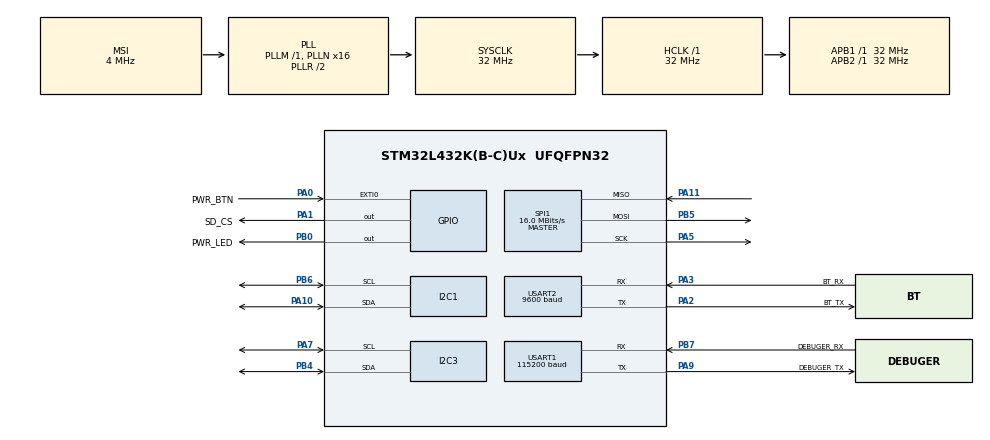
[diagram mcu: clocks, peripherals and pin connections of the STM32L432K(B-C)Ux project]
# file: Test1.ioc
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FATFS._MAX_SS=4096
FATFS._USE_LFN=1
I2C1.NoStretchMode=I2C_NOSTRETCH_DISABLE
I2C1.OwnAddress=0x0b
I2C1.Timing=0x00707CBB
I2C3.Timing=0x00707CBB
Mcu.Family=STM32L4
Mcu.Name=STM32L432K(B-C)Ux
Mcu.Package=UFQFPN32
NVIC.EXTI0_IRQn=true\:0\:0\:false\:false\:true\:true\:true\:true
NVIC.PriorityGroup=NVIC_PRIORITYGROUP_4
NVIC.USART2_IRQn=true\:0\:0\:false\:false\:true\:true\:true\:true
PA0.GPIO_Label=PWR_BTN
PA0.GPIO_ModeDefaultEXTI=GPIO_MODE_IT_RISING
PA0.GPIO_PuPd=GPIO_NOPULL
PA0.Signal=GPXTI0
PA1.GPIO_Label=SD_CS
PA1.PinState=GPIO_PIN_SET
PA1.Signal=GPIO_Output
PA10.GPIO_Pu=GPIO_NOPULL
PA10.Mode=I2C
PA10.Signal=I2C1_SDA
PA11.Mode=Full_Duplex_Master
PA11.Signal=SPI1_MISO
PA13\ (JTMS-SWDIO).GPIO_Label=SWDIO
PA13\ (JTMS-SWDIO).Mode=Serial_Wire
PA13\ (JTMS-SWDIO).Signal=SYS_JTMS-SWDIO
PA14\ (JTCK-SWCLK).GPIO_Label=SWCLK
PA14\ (JTCK-SWCLK).Mode=Serial_Wire
PA14\ (JTCK-SWCLK).Signal=SYS_JTCK-SWCLK
PA2.GPIO_Label=BT_TX
PA2.Mode=Asynchronous
PA2.Signal=USART2_TX
PA3.GPIO_Label=BT_RX
PA3.Mode=Asynchronous
PA3.Signal=USART2_RX
PA5.Mode=Full_Duplex_Master
PA5.Signal=SPI1_SCK
PA7.Mode=I2C
PA7.Signal=I2C3_SCL
PA9.GPIO_Label=DEBUGER_TX
PA9.Mode=Asynchronous
PA9.Signal=USART1_TX
PB0.GPIO_Label=PWR_LED
PB0.PinState=GPIO_PIN_SET
PB0.Signal=GPIO_Output
PB4\ (NJTRST).Mode=I2C
PB4\ (NJTRST).Signal=I2C3_SDA
PB5.Mode=Full_Duplex_Master
PB5.Signal=SPI1_MOSI
PB6.GPIO_Pu=GPIO_NOPULL
PB6.Mode=I2C
PB6.Signal=I2C1_SCL
PB7.GPIO_Label=DEBUGER_RX
PB7.Mode=Asynchronous
PB7.Signal=USART1_RX
PC14-OSC32_IN\ (PC14).Mode=LSE-External-Oscillator
PC14-OSC32_IN\ (PC14).Signal=RCC_OSC32_IN
PC15-OSC32_OUT\ (PC15).Mode=LSE-External-Oscillator
PC15-OSC32_OUT\ (PC15).Signal=RCC_OSC32_OUT
ProjectManager.HeapSize=0x200
ProjectManager.StackSize=0x400
ProjectManager.TargetToolchain=STM32CubeIDE
RCC.AHBFreq_Value=32000000
RCC.APB1Freq_Value=32000000
RCC.APB1TimFreq_Value=32000000
RCC.APB2Freq_Value=32000000
RCC.APB2TimFreq_Value=32000000
RCC.CortexFreq_Value=32000000
RCC.HCLKFreq_Value=32000000
RCC.HSE_VALUE=8000000
RCC.HSI16_VALUE=16000000
RCC.HSI48_VALUE=48000000
RCC.HSI_VALUE=16000000
RCC.MSI_VALUE=4000000
RCC.PLLMUL=RCC_PLLMUL_4
RCC.PLLN=16
RCC.SYSCLKFreq_VALUE=32000000
RCC.SYSCLKSource=RCC_SYSCLKSOURCE_PLLCLK
RCC.VCOOutputFreq_Value=64000000
SPI1.CalculateBaudRate=16.0 MBits/s
SPI1.DataSize=SPI_DATASIZE_8BIT
SPI1.Direction=SPI_DIRECTION_2LINES
SPI1.Mode=SPI_MODE_MASTER
SPI1.VirtualType=VM_MASTER
TIM1.Prescaler=32
TIM2.Prescaler=32
USART1.BaudRate=115200
USART1.VirtualMode-Asynchronous=VM_ASYNC
USART2.BaudRate=9600
USART2.VirtualMode-Asynchronous=VM_ASYNC
VP_FATFS_VS_Generic.Mode=User_defined
VP_TIM1_VS_ClockSourceINT.Mode=Internal
VP_TIM2_VS_ClockSourceINT.Mode=Internal
board=NUCLEO-L432KC

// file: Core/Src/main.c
/* USER CODE BEGIN Header */
/**
  ******************************************************************************
  * @file           : main.c
  * @brief          : Main program body
  ******************************************************************************
  * @attention
  *
  * Copyright (c) 2022 STMicroelectronics.
  * All rights reserved.
  *
  * This software is licensed under terms that can be found in the LICENSE file
  * in the root directory of this software component.
  * If no LICENSE file comes with this software, it is provided AS-IS.
  *
  ******************************************************************************
  */
/* USER CODE END Header */
#include "main.h"
#include "fatfs.h"

/* USER CODE BEGIN Includes */
#include <stdio.h>
#include <stdlib.h>
#include <math.h>
#include <string.h>
#include "retarget.h"
#include "sensor_service.h"
#include "data_service.h"
#include "bluetooth_service.h"
#include "fatfs_sd.h"
#include "batt_monitor.h"
#include "sd_logger.h"
#include "bno055_stm32.h"
/* USER CODE END Includes */

/* USER CODE BEGIN PTD */
#define FORCE_BUF_CAPACITY 500
#define IMPACT_ANGLE_BUF_CAPACITY 50
#define IMPACT_FORCE_BUF_CAPACITY 50

#define PEAK_TIME_THRESH_MILLIS 100
#define PEAK_FORCE_BUF_CAPACITY 100

#define MAX_INT_32 0xffffffff

#define LOG_SYNC_INTERVAL 5000

#define SEND_STEP_DATA_INTERVAL 500
// low power interval
#define SEND_STEP_DATA_LP_INTERVAL 1000
#define SEND_BATT_DATA_INTERVAL 60000
#define LOW_POWER_THRESHOLD 20
/* USER CODE END PTD */

/* USER CODE BEGIN PM */
#define max(a,b) \
   ({ __typeof__ (a) _a = (a); \
       __typeof__ (b) _b = (b); \
     _a > _b ? _a : _b; })

#define min(a,b) \
   ({ __typeof__ (a) _a = (a); \
       __typeof__ (b) _b = (b); \
     _a < _b ? _a : _b; })
/* USER CODE END PM */

 I2C_HandleTypeDef hi2c1;
I2C_HandleTypeDef hi2c3;

SPI_HandleTypeDef hspi1;

TIM_HandleTypeDef htim1;
TIM_HandleTypeDef htim2;

UART_HandleTypeDef huart1;
UART_HandleTypeDef huart2;

/* USER CODE BEGIN PV */

float user_mass;
float new_user_mass;
float batt_percent;

force_point force_buf[FORCE_BUF_CAPACITY];
float impulse_buffer;
float impact_angle_buffer[IMPACT_ANGLE_BUF_CAPACITY];
uint32_t impact_angle_buffer_size;
float impact_force_buffer[IMPACT_FORCE_BUF_CAPACITY];
uint32_t impact_force_buffer_size;

uint8_t test_buf[100];

uint8_t is_batt_connected = 1;
uint8_t is_logging = 1;
FIL log_file;

/* USER CODE END PV */

void SystemClock_Config(void);
static void MX_GPIO_Init(void);
static void MX_USART2_UART_Init(void);
static void MX_USART1_UART_Init(void);
static void MX_TIM1_Init(void);
static void MX_TIM2_Init(void);
static void MX_I2C1_Init(void);
static void MX_SPI1_Init(void);
static void MX_I2C3_Init(void);
/* USER CODE BEGIN PFP */

void print_hex(char* data, uint32_t len);
uint32_t diff_time(uint32_t start, uint32_t end);

/* USER CODE END PFP */

/* USER CODE BEGIN 0 */

void print_hex(char* data, uint32_t len) {
	for (uint32_t i = 0; i < len; i++) {
		printf("%02x ", data[i]);
	}
	printf("\r\n");
}

uint32_t diff_time(uint32_t start, uint32_t end) {
	if (end < start) {
		return MAX_INT_32 - end + start;
	} else {
		return end - start;
	}
}

void HAL_GPIO_EXTI_Callback(uint16_t GPIO_Pin)
{
    if(GPIO_Pin == PWR_BTN_Pin)
    {
//    	HAL_GPIO_TogglePin(LD3_GPIO_Port, LD3_Pin);
    }
}

/* USER CODE END 0 */

int main(void)
{

  /* MCU Configuration--------------------------------------------------------*/

  /* Reset of all peripherals, Initializes the Flash interface and the Systick. */
  HAL_Init();

  /* Configure the system clock */
  SystemClock_Config();

  /* Initialize all configured peripherals */
  MX_GPIO_Init();
  MX_USART2_UART_Init();
  MX_USART1_UART_Init();
  MX_TIM1_Init();
  MX_TIM2_Init();
  MX_FATFS_Init();
  MX_I2C1_Init();
  MX_SPI1_Init();
  MX_I2C3_Init();
  /* USER CODE BEGIN 2 */

  RetargetInit(&huart1);

  // if (accel_init() != SENSOR_OK) {
	//   printf("Accelerometer initialization failed\r\n");
	//   return 0;
  // }
  if (imu_init(&hi2c1) != SENSOR_OK) {
    printf("[Fatal] IMU initialization failed\r\n");
    return 0;
  }
  if (batt_init() != BATT_OK) {
	  printf("[Warning] Battery monitor initialization failed\r\n");
	  is_batt_connected = 0;
  }
  if (sd_logger_init(&log_file) != SD_OK) {
	  printf("[Warning] SD card logger initialization failed\r\n");
	  is_logging = 0;
  }

  HAL_TIM_Base_Start(&htim1);
  HAL_TIM_Base_Start(&htim2);

  uint32_t data_buf_idx = 0;
  accel_vec accel_data;
  uint8_t is_first_loop = 1;
  uint8_t is_force_spike = 0;

  peak_force_point peak_force_buf[PEAK_FORCE_BUF_CAPACITY];
  uint32_t peak_force_buf_size = 0;
  peak_force_point new_peak_force;
  uint32_t last_peak_force_time = 0;

  user_mass = 65;

  batt_percent = is_batt_connected ? batt_get_percent() : 100;

  impulse_buffer = 0;
  impact_angle_buffer_size = 0;
  impact_force_buffer_size = 0;

  float force_baseline = user_mass * GRAV_ACCEL;
  float high_force_threshold = force_baseline + 600;
  // TODO: remove because unreliable
  // float low_force_threshold = force_baseline - 200;
  float step_threshold = high_force_threshold * 2;
  float low_force_lookback_size = 75;

  uint32_t last_log_sync_time = HAL_GetTick();
  uint32_t last_send_step_time = HAL_GetTick();
  uint32_t last_send_batt_time = HAL_GetTick();

  /* USER CODE END 2 */

  /* Infinite loop */
  /* USER CODE BEGIN WHILE */

  while (1)
  {

	  force_point* force_pt = &force_buf[data_buf_idx];
	  force_point* prev_force_pt = &force_buf[(data_buf_idx - 1) % FORCE_BUF_CAPACITY];

    imu_sample(&accel_data, &force_pt->angle);
	  force_pt->force = compute_force(&accel_data);
	  force_pt->elapsed_time = __HAL_TIM_GetCounter(&htim1);
	  __HAL_TIM_SET_COUNTER(&htim1, 0);

	  if (is_logging) {
		  f_printf(
        &log_file,
        "%ld,%ld,%ld,%ld,%ld,%ld,%ld\n",
        force_pt->elapsed_time,
        (int32_t)(accel_data.x * 1000),
        (int32_t)(accel_data.y * 1000),
        (int32_t)(accel_data.z * 1000),
        (int32_t)(force_pt->angle.roll * 1000),
        (int32_t)(force_pt->angle.pitch * 1000),
        (int32_t)(force_pt->angle.yaw * 1000)
      );
	  }
	  // printf("%.2f, %.2f, %.2f\r\n", accel_data.x, accel_data.y, accel_data.z);
    // HAL_Delay(100);
//	  printf("%ld, %ld\r\n", (uint32_t)force_pt->elapsed_time, (uint32_t)force_pt->force);

	  new_peak_force.index = -1; // -1 means no new peak force
	  if (!is_first_loop) {
		  uint8_t force_is_increasing = force_pt->force > prev_force_pt->force;
		  if (!is_force_spike) {
			  // decreasing -> decreasing
			  if (force_pt->force > high_force_threshold && force_is_increasing) {
				  // decreasing -> increasing
				  is_force_spike = 1;
			  }
		  } else if (!force_is_increasing) {
			  // increasing -> decreasing
			  new_peak_force.force = prev_force_pt->force;
			  new_peak_force.index = (data_buf_idx - 1) % FORCE_BUF_CAPACITY;
			  is_force_spike = 0;
		  }
		  // increasing -> increasing: do nothing
	  }

	  // if force has peaked, add it to list of force peaks
	  if (new_peak_force.index != -1) {
		  last_peak_force_time = HAL_GetTick();
		  peak_force_buf[peak_force_buf_size] = new_peak_force;
		  peak_force_buf_size++;
//		   printf("Peak %ld %ld\r\n", (uint32_t)new_peak_force.force, last_peak_force_time);
	  }

	  // batch forces together, each batch of forces are caused by the same step
	  if (diff_time(last_peak_force_time, HAL_GetTick()) > PEAK_TIME_THRESH_MILLIS) {
		  uint8_t is_step = 0;
      // TODO: remove because unreliable
		  // uint32_t last_low_force_idx = 0;
		  peak_force_point* max_peak_force = 0;

		  if (peak_force_buf_size > 0) {
//		      uint8_t is_max_peak_force_last = (peak_force_buf_size == 1);
			  max_peak_force = &peak_force_buf[0];

			  for (uint8_t i = 1; i < peak_force_buf_size; i++) {
				  if (peak_force_buf[i].force > max_peak_force->force) {
					  max_peak_force = &peak_force_buf[i];
//					  is_max_peak_force_last = (i == peak_force_buf_size - 1);
				  }
			  }

			  // TODO: remove because unreliable
			  // expect there to be vibrations after step (maximum peak should not be last in batch)
			  // and maximum force should exceed threshold
//			  if (!is_max_peak_force_last) {
//			  }

			  if (max_peak_force->force > step_threshold) {
				  // TODO: remove because unreliable
				  // expect a dip in force before the foot lands, indicating a step
//				  float min_force = 10000000;
//				  for (uint8_t i = 0; i < low_force_lookback_size; i++) {
//					  uint32_t buf_idx = (max_peak_force->index - i) % FORCE_BUF_CAPACITY;
//					  min_force = min(min_force, force_buf[buf_idx].force);
//					  if (force_buf[buf_idx].force < low_force_threshold) {
//						  is_step = 1;
//						  last_low_force_idx = buf_idx;
//					  }
//				  }
//				  if (!is_step) {
//					  printf("No dip %f > %f\r\n", min_force, low_force_threshold);
//				  }
				  is_step = 1;
			  }
			  peak_force_buf_size = 0;
		  }

		  if (is_step) {
			  int32_t peak_start_index;
			  int32_t peak_end_index;

			  // find where max peak started
			  peak_start_index = max_peak_force->index;
			  while (force_buf[peak_start_index].force > high_force_threshold) {
				  peak_start_index = (peak_start_index - 1) % FORCE_BUF_CAPACITY;
			  }

			  // find where max peak ends
			  peak_end_index = max_peak_force->index;
			  while (force_buf[peak_end_index].force > high_force_threshold) {
				  peak_end_index = (peak_end_index + 1) % FORCE_BUF_CAPACITY;
			  }

			  // account for possible wrap-around in force buffer
			  if (peak_end_index < peak_start_index) {
				  peak_end_index = FORCE_BUF_CAPACITY + peak_end_index;
			  }

			  // riemann sum over max force peak
			  for (uint32_t i = peak_start_index + 1; i < peak_end_index; i++) {
				  impulse_buffer +=
            force_buf[i % FORCE_BUF_CAPACITY].force *
            force_buf[i % FORCE_BUF_CAPACITY].elapsed_time / 1000000.0f;
			  }

			  angle_vec* peak_angle = &force_buf[max_peak_force->index].angle;
			  // get maximum of the 3 angles
			  impact_angle_buffer[impact_angle_buffer_size] = max(peak_angle->roll, max(peak_angle->pitch, peak_angle->yaw));
			  impact_force_buffer[impact_force_buffer_size] = max_peak_force->force;

			  impact_angle_buffer_size = min(impact_angle_buffer_size + 1, IMPACT_ANGLE_BUF_CAPACITY);
			  impact_force_buffer_size = min(impact_force_buffer_size + 1, IMPACT_FORCE_BUF_CAPACITY);

			  printf(
          "Step - Impulse: %f, Max Force: %f, Angle: %f %f %f\r\n",
          impulse_buffer,
          max_peak_force->force,
          peak_angle->yaw,
          peak_angle->roll,
          peak_angle->pitch
        );

        if (is_logging) {
          f_printf(
            &log_file,
            "> Step,%ld,%ld,%ld,%ld,%ld\r\n",
            (int32_t)(impulse_buffer * 1000),
            (int32_t)(max_peak_force->force * 1000),
            (int32_t)(peak_angle->yaw * 1000),
            (int32_t)(peak_angle->roll * 1000),
            (int32_t)(peak_angle->pitch * 1000)
          );
        }
		  } else {
//			  printf("No step\r\n");
		  }
		  last_peak_force_time = HAL_GetTick();
	  }

	  if (is_logging && HAL_GetTick() - last_log_sync_time > LOG_SYNC_INTERVAL) {
		  printf("Log sync\r\n");
	  	  f_sync(&log_file);
	  	  last_log_sync_time = HAL_GetTick();
	  }

	  // send step data to mobile device via bluetooth (bt)
	  uint8_t is_low_power = (batt_percent < LOW_POWER_THRESHOLD);
	  if (HAL_GetTick() - last_send_step_time > (is_low_power ? SEND_STEP_DATA_LP_INTERVAL : SEND_STEP_DATA_INTERVAL)) {
		  bt_send_str_float(&huart2, IMPULSE_CMD, impulse_buffer);
		  bt_send_str_float_array(&huart2, ANGLE_CMD, impact_angle_buffer, impact_angle_buffer_size);
		  bt_send_str_float_array(&huart2, MAX_FORCE_CMD, impact_force_buffer, impact_force_buffer_size);
		  impulse_buffer = 0;
		  impact_angle_buffer_size = 0;
		  impact_force_buffer_size = 0;
		  last_send_step_time = HAL_GetTick();
	  }

	  if (HAL_GetTick() - last_send_batt_time > SEND_BATT_DATA_INTERVAL) {
		  batt_percent = is_batt_connected ? batt_get_percent() : 100;
		  bt_send_str_float(&huart2, BATT_CMD, batt_percent);
		  last_send_batt_time = HAL_GetTick();
	  }

	  uint8_t recv_result = bt_try_recv_user_mass(&huart2, &new_user_mass);
	  if (recv_result == BT_OK) {
		  printf("New user mass: %f\r\n", new_user_mass);
		  user_mass = new_user_mass;
	  }

	  data_buf_idx = (data_buf_idx + 1) % FORCE_BUF_CAPACITY;
	  is_first_loop = 0;
    /* USER CODE END WHILE */

  }
}

void SystemClock_Config(void)
{
  RCC_OscInitTypeDef RCC_OscInitStruct = {0};
  RCC_ClkInitTypeDef RCC_ClkInitStruct = {0};

  /** Configure the main internal regulator output voltage
  */
  if (HAL_PWREx_ControlVoltageScaling(PWR_REGULATOR_VOLTAGE_SCALE1) != HAL_OK)
  {
    Error_Handler();
  }

  /** Configure LSE Drive Capability
  */
  HAL_PWR_EnableBkUpAccess();
  __HAL_RCC_LSEDRIVE_CONFIG(RCC_LSEDRIVE_LOW);

  /** Initializes the RCC Oscillators according to the specified parameters
  * in the RCC_OscInitTypeDef structure.
  */
  RCC_OscInitStruct.OscillatorType = RCC_OSCILLATORTYPE_LSE|RCC_OSCILLATORTYPE_MSI;
  RCC_OscInitStruct.LSEState = RCC_LSE_ON;
  RCC_OscInitStruct.MSIState = RCC_MSI_ON;
  RCC_OscInitStruct.MSICalibrationValue = 0;
  RCC_OscInitStruct.MSIClockRange = RCC_MSIRANGE_6;
  RCC_OscInitStruct.PLL.PLLState = RCC_PLL_ON;
  RCC_OscInitStruct.PLL.PLLSource = RCC_PLLSOURCE_MSI;
  RCC_OscInitStruct.PLL.PLLM = 1;
  RCC_OscInitStruct.PLL.PLLN = 16;
  RCC_OscInitStruct.PLL.PLLP = RCC_PLLP_DIV7;
  RCC_OscInitStruct.PLL.PLLQ = RCC_PLLQ_DIV2;
  RCC_OscInitStruct.PLL.PLLR = RCC_PLLR_DIV2;
  if (HAL_RCC_OscConfig(&RCC_OscInitStruct) != HAL_OK)
  {
    Error_Handler();
  }

  /** Initializes the CPU, AHB and APB buses clocks
  */
  RCC_ClkInitStruct.ClockType = RCC_CLOCKTYPE_HCLK|RCC_CLOCKTYPE_SYSCLK
                              |RCC_CLOCKTYPE_PCLK1|RCC_CLOCKTYPE_PCLK2;
  RCC_ClkInitStruct.SYSCLKSource = RCC_SYSCLKSOURCE_PLLCLK;
  RCC_ClkInitStruct.AHBCLKDivider = RCC_SYSCLK_DIV1;
  RCC_ClkInitStruct.APB1CLKDivider = RCC_HCLK_DIV1;
  RCC_ClkInitStruct.APB2CLKDivider = RCC_HCLK_DIV1;

  if (HAL_RCC_ClockConfig(&RCC_ClkInitStruct, FLASH_LATENCY_1) != HAL_OK)
  {
    Error_Handler();
  }

  /** Enable MSI Auto calibration
  */
  HAL_RCCEx_EnableMSIPLLMode();
}

static void MX_I2C1_Init(void)
{

  hi2c1.Instance = I2C1;
  hi2c1.Init.Timing = 0x00707CBB;
  hi2c1.Init.OwnAddress1 = 22;
  hi2c1.Init.AddressingMode = I2C_ADDRESSINGMODE_7BIT;
  hi2c1.Init.DualAddressMode = I2C_DUALADDRESS_DISABLE;
  hi2c1.Init.OwnAddress2 = 0;
  hi2c1.Init.OwnAddress2Masks = I2C_OA2_NOMASK;
  hi2c1.Init.GeneralCallMode = I2C_GENERALCALL_DISABLE;
  hi2c1.Init.NoStretchMode = I2C_NOSTRETCH_DISABLE;
  if (HAL_I2C_Init(&hi2c1) != HAL_OK)
  {
    Error_Handler();
  }

  /** Configure Analogue filter
  */
  if (HAL_I2CEx_ConfigAnalogFilter(&hi2c1, I2C_ANALOGFILTER_ENABLE) != HAL_OK)
  {
    Error_Handler();
  }

  /** Configure Digital filter
  */
  if (HAL_I2CEx_ConfigDigitalFilter(&hi2c1, 0) != HAL_OK)
  {
    Error_Handler();
  }

}

static void MX_I2C3_Init(void)
{

  hi2c3.Instance = I2C3;
  hi2c3.Init.Timing = 0x00707CBB;
  hi2c3.Init.OwnAddress1 = 0;
  hi2c3.Init.AddressingMode = I2C_ADDRESSINGMODE_7BIT;
  hi2c3.Init.DualAddressMode = I2C_DUALADDRESS_DISABLE;
  hi2c3.Init.OwnAddress2 = 0;
  hi2c3.Init.OwnAddress2Masks = I2C_OA2_NOMASK;
  hi2c3.Init.GeneralCallMode = I2C_GENERALCALL_DISABLE;
  hi2c3.Init.NoStretchMode = I2C_NOSTRETCH_DISABLE;
  if (HAL_I2C_Init(&hi2c3) != HAL_OK)
  {
    Error_Handler();
  }

  /** Configure Analogue filter
  */
  if (HAL_I2CEx_ConfigAnalogFilter(&hi2c3, I2C_ANALOGFILTER_ENABLE) != HAL_OK)
  {
    Error_Handler();
  }

  /** Configure Digital filter
  */
  if (HAL_I2CEx_ConfigDigitalFilter(&hi2c3, 0) != HAL_OK)
  {
    Error_Handler();
  }

}

static void MX_SPI1_Init(void)
{

  /* SPI1 parameter configuration*/
  hspi1.Instance = SPI1;
  hspi1.Init.Mode = SPI_MODE_MASTER;
  hspi1.Init.Direction = SPI_DIRECTION_2LINES;
  hspi1.Init.DataSize = SPI_DATASIZE_8BIT;
  hspi1.Init.CLKPolarity = SPI_POLARITY_LOW;
  hspi1.Init.CLKPhase = SPI_PHASE_1EDGE;
  hspi1.Init.NSS = SPI_NSS_SOFT;
  hspi1.Init.BaudRatePrescaler = SPI_BAUDRATEPRESCALER_2;
  hspi1.Init.FirstBit = SPI_FIRSTBIT_MSB;
  hspi1.Init.TIMode = SPI_TIMODE_DISABLE;
  hspi1.Init.CRCCalculation = SPI_CRCCALCULATION_DISABLE;
  hspi1.Init.CRCPolynomial = 7;
  hspi1.Init.CRCLength = SPI_CRC_LENGTH_DATASIZE;
  hspi1.Init.NSSPMode = SPI_NSS_PULSE_ENABLE;
  if (HAL_SPI_Init(&hspi1) != HAL_OK)
  {
    Error_Handler();
  }

}

static void MX_TIM1_Init(void)
{

  TIM_ClockConfigTypeDef sClockSourceConfig = {0};
  TIM_MasterConfigTypeDef sMasterConfig = {0};

  htim1.Instance = TIM1;
  htim1.Init.Prescaler = 32;
  htim1.Init.CounterMode = TIM_COUNTERMODE_UP;
  htim1.Init.Period = 65535;
  htim1.Init.ClockDivision = TIM_CLOCKDIVISION_DIV1;
  htim1.Init.RepetitionCounter = 0;
  htim1.Init.AutoReloadPreload = TIM_AUTORELOAD_PRELOAD_DISABLE;
  if (HAL_TIM_Base_Init(&htim1) != HAL_OK)
  {
    Error_Handler();
  }
  sClockSourceConfig.ClockSource = TIM_CLOCKSOURCE_INTERNAL;
  if (HAL_TIM_ConfigClockSource(&htim1, &sClockSourceConfig) != HAL_OK)
  {
    Error_Handler();
  }
  sMasterConfig.MasterOutputTrigger = TIM_TRGO_RESET;
  sMasterConfig.MasterOutputTrigger2 = TIM_TRGO2_RESET;
  sMasterConfig.MasterSlaveMode = TIM_MASTERSLAVEMODE_DISABLE;
  if (HAL_TIMEx_MasterConfigSynchronization(&htim1, &sMasterConfig) != HAL_OK)
  {
    Error_Handler();
  }

}

static void MX_TIM2_Init(void)
{

  TIM_ClockConfigTypeDef sClockSourceConfig = {0};
  TIM_MasterConfigTypeDef sMasterConfig = {0};

  htim2.Instance = TIM2;
  htim2.Init.Prescaler = 32;
  htim2.Init.CounterMode = TIM_COUNTERMODE_UP;
  htim2.Init.Period = 4294967295;
  htim2.Init.ClockDivision = TIM_CLOCKDIVISION_DIV1;
  htim2.Init.AutoReloadPreload = TIM_AUTORELOAD_PRELOAD_DISABLE;
  if (HAL_TIM_Base_Init(&htim2) != HAL_OK)
  {
    Error_Handler();
  }
  sClockSourceConfig.ClockSource = TIM_CLOCKSOURCE_INTERNAL;
  if (HAL_TIM_ConfigClockSource(&htim2, &sClockSourceConfig) != HAL_OK)
  {
    Error_Handler();
  }
  sMasterConfig.MasterOutputTrigger = TIM_TRGO_RESET;
  sMasterConfig.MasterSlaveMode = TIM_MASTERSLAVEMODE_DISABLE;
  if (HAL_TIMEx_MasterConfigSynchronization(&htim2, &sMasterConfig) != HAL_OK)
  {
    Error_Handler();
  }

}

static void MX_USART1_UART_Init(void)
{

  huart1.Instance = USART1;
  huart1.Init.BaudRate = 115200;
  huart1.Init.WordLength = UART_WORDLENGTH_8B;
  huart1.Init.StopBits = UART_STOPBITS_1;
  huart1.Init.Parity = UART_PARITY_NONE;
  huart1.Init.Mode = UART_MODE_TX_RX;
  huart1.Init.HwFlowCtl = UART_HWCONTROL_NONE;
  huart1.Init.OverSampling = UART_OVERSAMPLING_16;
  huart1.Init.OneBitSampling = UART_ONE_BIT_SAMPLE_DISABLE;
  huart1.AdvancedInit.AdvFeatureInit = UART_ADVFEATURE_NO_INIT;
  if (HAL_UART_Init(&huart1) != HAL_OK)
  {
    Error_Handler();
  }

}

static void MX_USART2_UART_Init(void)
{

  huart2.Instance = USART2;
  huart2.Init.BaudRate = 9600;
  huart2.Init.WordLength = UART_WORDLENGTH_8B;
  huart2.Init.StopBits = UART_STOPBITS_1;
  huart2.Init.Parity = UART_PARITY_NONE;
  huart2.Init.Mode = UART_MODE_TX_RX;
  huart2.Init.HwFlowCtl = UART_HWCONTROL_NONE;
  huart2.Init.OverSampling = UART_OVERSAMPLING_16;
  huart2.Init.OneBitSampling = UART_ONE_BIT_SAMPLE_DISABLE;
  huart2.AdvancedInit.AdvFeatureInit = UART_ADVFEATURE_NO_INIT;
  if (HAL_UART_Init(&huart2) != HAL_OK)
  {
    Error_Handler();
  }

}

static void MX_GPIO_Init(void)
{
  GPIO_InitTypeDef GPIO_InitStruct = {0};

  /* GPIO Ports Clock Enable */
  __HAL_RCC_GPIOC_CLK_ENABLE();
  __HAL_RCC_GPIOA_CLK_ENABLE();
  __HAL_RCC_GPIOB_CLK_ENABLE();

  /*Configure GPIO pin Output Level */
  HAL_GPIO_WritePin(SD_CS_GPIO_Port, SD_CS_Pin, GPIO_PIN_SET);

  /*Configure GPIO pin Output Level */
  HAL_GPIO_WritePin(PWR_LED_GPIO_Port, PWR_LED_Pin, GPIO_PIN_SET);

  /*Configure GPIO pin : PWR_BTN_Pin */
  GPIO_InitStruct.Pin = PWR_BTN_Pin;
  GPIO_InitStruct.Mode = GPIO_MODE_IT_RISING;
  GPIO_InitStruct.Pull = GPIO_NOPULL;
  HAL_GPIO_Init(PWR_BTN_GPIO_Port, &GPIO_InitStruct);

  /*Configure GPIO pin : SD_CS_Pin */
  GPIO_InitStruct.Pin = SD_CS_Pin;
  GPIO_InitStruct.Mode = GPIO_MODE_OUTPUT_PP;
  GPIO_InitStruct.Pull = GPIO_NOPULL;
  GPIO_InitStruct.Speed = GPIO_SPEED_FREQ_LOW;
  HAL_GPIO_Init(SD_CS_GPIO_Port, &GPIO_InitStruct);

  /*Configure GPIO pin : PWR_LED_Pin */
  GPIO_InitStruct.Pin = PWR_LED_Pin;
  GPIO_InitStruct.Mode = GPIO_MODE_OUTPUT_PP;
  GPIO_InitStruct.Pull = GPIO_NOPULL;
  GPIO_InitStruct.Speed = GPIO_SPEED_FREQ_LOW;
  HAL_GPIO_Init(PWR_LED_GPIO_Port, &GPIO_InitStruct);

  /* EXTI interrupt init*/
  HAL_NVIC_SetPriority(EXTI0_IRQn, 0, 0);
  HAL_NVIC_EnableIRQ(EXTI0_IRQn);

}

void Error_Handler(void)
{
  __disable_irq();
  while (1)
  {
  }
}
